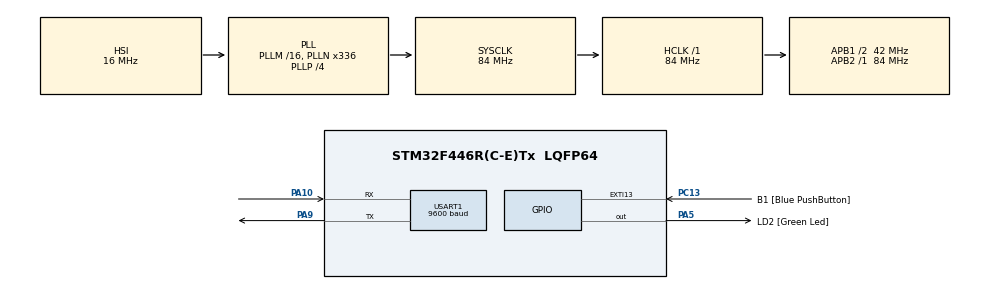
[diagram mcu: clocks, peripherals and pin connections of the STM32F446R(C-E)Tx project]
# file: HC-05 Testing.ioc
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Mcu.Family=STM32F4
Mcu.Name=STM32F446R(C-E)Tx
Mcu.Package=LQFP64
NVIC.PriorityGroup=NVIC_PRIORITYGROUP_0
NVIC.USART1_IRQn=true\:0\:0\:false\:false\:true\:true\:true\:true
PA10.Mode=Asynchronous
PA10.Signal=USART1_RX
PA13.GPIO_Label=TMS
PA13.Mode=Serial_Wire
PA13.Signal=SYS_JTMS-SWDIO
PA14.GPIO_Label=TCK
PA14.Mode=Serial_Wire
PA14.Signal=SYS_JTCK-SWCLK
PA2.GPIO_Label=USART_TX
PA2.Signal=USART2_TX
PA3.GPIO_Label=USART_RX
PA3.Signal=USART2_RX
PA5.GPIO_Label=LD2 [Green Led]
PA5.Signal=GPIO_Output
PA9.Mode=Asynchronous
PA9.Signal=USART1_TX
PB3.GPIO_Label=SWO
PB3.Signal=SYS_JTDO-SWO
PC13.GPIO_Label=B1 [Blue PushButton]
PC13.GPIO_ModeDefaultEXTI=GPIO_MODE_IT_FALLING
PC13.Signal=GPXTI13
PC14-OSC32_IN.Mode=LSE-External-Oscillator
PC14-OSC32_IN.Signal=RCC_OSC32_IN
PC15-OSC32_OUT.Mode=LSE-External-Oscillator
PC15-OSC32_OUT.Signal=RCC_OSC32_OUT
PH0-OSC_IN.Mode=HSE-External-Oscillator
PH0-OSC_IN.Signal=RCC_OSC_IN
PH1-OSC_OUT.Mode=HSE-External-Oscillator
PH1-OSC_OUT.Signal=RCC_OSC_OUT
ProjectManager.HeapSize=0x200
ProjectManager.StackSize=0x400
ProjectManager.TargetToolchain=STM32CubeIDE
RCC.48MHZClocksFreq_Value=84000000
RCC.AHBFreq_Value=84000000
RCC.APB1CLKDivider=RCC_HCLK_DIV2
RCC.APB1Freq_Value=42000000
RCC.APB1TimFreq_Value=84000000
RCC.APB2Freq_Value=84000000
RCC.APB2TimFreq_Value=84000000
RCC.CortexFreq_Value=84000000
RCC.FLatency-AdvancedSettings=FLASH_LATENCY_2
RCC.HCLKFreq_Value=84000000
RCC.HSE_VALUE=8000000
RCC.HSI_VALUE=16000000
RCC.PLLN=336
RCC.PLLP=RCC_PLLP_DIV4
RCC.SYSCLKFreq_VALUE=84000000
RCC.SYSCLKSource=RCC_SYSCLKSOURCE_PLLCLK
RCC.USBFreq_Value=168000000
RCC.VCOOutputFreq_Value=336000000
USART1.BaudRate=9600
USART1.VirtualMode=VM_ASYNC
board=NUCLEO-F446RE

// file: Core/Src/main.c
/* USER CODE BEGIN Header */
/**
  ******************************************************************************
  * @file           : main.c
  * @brief          : Main program body
  ******************************************************************************
  * @attention
  *
  * Copyright (c) 2025 STMicroelectronics.
  * All rights reserved.
  *
  * This software is licensed under terms that can be found in the LICENSE file
  * in the root directory of this software component.
  * If no LICENSE file comes with this software, it is provided AS-IS.
  *
  ******************************************************************************
  */
/* USER CODE END Header */
#include "main.h"

/* USER CODE BEGIN Includes */

#include <string.h>

/* USER CODE END Includes */

UART_HandleTypeDef huart1;

/* USER CODE BEGIN PV */

uint8_t buffer_q[8][21];
int index_buffer;
uint8_t buffer[21];

uint8_t base;
uint8_t shoulder;
uint8_t elbow;
uint8_t wrist_pitch;
uint8_t wrist_roll;
uint8_t detected_class;

/* USER CODE END PV */

void SystemClock_Config(void);
static void MX_GPIO_Init(void);
static void MX_USART1_UART_Init(void);

int main(void)
{

  /* MCU Configuration--------------------------------------------------------*/

  /* Reset of all peripherals, Initializes the Flash interface and the Systick. */
  HAL_Init();

  /* Configure the system clock */
  SystemClock_Config();

  /* Initialize all configured peripherals */
  MX_GPIO_Init();
  MX_USART1_UART_Init();
  /* USER CODE BEGIN 2 */

  char temp_msg[32];
  strcpy(temp_msg, "HC-05 Initialised!\n");
  HAL_UART_Transmit(&huart1, (uint8_t*) temp_msg, strlen(temp_msg), HAL_MAX_DELAY);
  HAL_UART_Receive_IT(&huart1, buffer, 21);

  /* USER CODE END 2 */

  /* Infinite loop */
  while (1)
  {

  }
}

void SystemClock_Config(void)
{
  RCC_OscInitTypeDef RCC_OscInitStruct = {0};
  RCC_ClkInitTypeDef RCC_ClkInitStruct = {0};

  /** Configure the main internal regulator output voltage
  */
  __HAL_RCC_PWR_CLK_ENABLE();
  __HAL_PWR_VOLTAGESCALING_CONFIG(PWR_REGULATOR_VOLTAGE_SCALE3);

  /** Initializes the RCC Oscillators according to the specified parameters
  * in the RCC_OscInitTypeDef structure.
  */
  RCC_OscInitStruct.OscillatorType = RCC_OSCILLATORTYPE_HSI;
  RCC_OscInitStruct.HSIState = RCC_HSI_ON;
  RCC_OscInitStruct.HSICalibrationValue = RCC_HSICALIBRATION_DEFAULT;
  RCC_OscInitStruct.PLL.PLLState = RCC_PLL_ON;
  RCC_OscInitStruct.PLL.PLLSource = RCC_PLLSOURCE_HSI;
  RCC_OscInitStruct.PLL.PLLM = 16;
  RCC_OscInitStruct.PLL.PLLN = 336;
  RCC_OscInitStruct.PLL.PLLP = RCC_PLLP_DIV4;
  RCC_OscInitStruct.PLL.PLLQ = 2;
  RCC_OscInitStruct.PLL.PLLR = 2;
  if (HAL_RCC_OscConfig(&RCC_OscInitStruct) != HAL_OK)
  {
    Error_Handler();
  }

  /** Initializes the CPU, AHB and APB buses clocks
  */
  RCC_ClkInitStruct.ClockType = RCC_CLOCKTYPE_HCLK|RCC_CLOCKTYPE_SYSCLK
                              |RCC_CLOCKTYPE_PCLK1|RCC_CLOCKTYPE_PCLK2;
  RCC_ClkInitStruct.SYSCLKSource = RCC_SYSCLKSOURCE_PLLCLK;
  RCC_ClkInitStruct.AHBCLKDivider = RCC_SYSCLK_DIV1;
  RCC_ClkInitStruct.APB1CLKDivider = RCC_HCLK_DIV2;
  RCC_ClkInitStruct.APB2CLKDivider = RCC_HCLK_DIV1;

  if (HAL_RCC_ClockConfig(&RCC_ClkInitStruct, FLASH_LATENCY_2) != HAL_OK)
  {
    Error_Handler();
  }
}

static void MX_USART1_UART_Init(void)
{

  huart1.Instance = USART1;
  huart1.Init.BaudRate = 9600;
  huart1.Init.WordLength = UART_WORDLENGTH_8B;
  huart1.Init.StopBits = UART_STOPBITS_1;
  huart1.Init.Parity = UART_PARITY_NONE;
  huart1.Init.Mode = UART_MODE_TX_RX;
  huart1.Init.HwFlowCtl = UART_HWCONTROL_NONE;
  huart1.Init.OverSampling = UART_OVERSAMPLING_16;
  if (HAL_UART_Init(&huart1) != HAL_OK)
  {
    Error_Handler();
  }

}

static void MX_GPIO_Init(void)
{
  GPIO_InitTypeDef GPIO_InitStruct = {0};

  /* GPIO Ports Clock Enable */
  __HAL_RCC_GPIOC_CLK_ENABLE();
  __HAL_RCC_GPIOH_CLK_ENABLE();
  __HAL_RCC_GPIOA_CLK_ENABLE();
  __HAL_RCC_GPIOB_CLK_ENABLE();

  /*Configure GPIO pin Output Level */
  HAL_GPIO_WritePin(LD2_GPIO_Port, LD2_Pin, GPIO_PIN_RESET);

  /*Configure GPIO pin : B1_Pin */
  GPIO_InitStruct.Pin = B1_Pin;
  GPIO_InitStruct.Mode = GPIO_MODE_IT_FALLING;
  GPIO_InitStruct.Pull = GPIO_NOPULL;
  HAL_GPIO_Init(B1_GPIO_Port, &GPIO_InitStruct);

  /*Configure GPIO pins : USART_TX_Pin USART_RX_Pin */
  GPIO_InitStruct.Pin = USART_TX_Pin|USART_RX_Pin;
  GPIO_InitStruct.Mode = GPIO_MODE_AF_PP;
  GPIO_InitStruct.Pull = GPIO_NOPULL;
  GPIO_InitStruct.Speed = GPIO_SPEED_FREQ_VERY_HIGH;
  GPIO_InitStruct.Alternate = GPIO_AF7_USART2;
  HAL_GPIO_Init(GPIOA, &GPIO_InitStruct);

  /*Configure GPIO pin : LD2_Pin */
  GPIO_InitStruct.Pin = LD2_Pin;
  GPIO_InitStruct.Mode = GPIO_MODE_OUTPUT_PP;
  GPIO_InitStruct.Pull = GPIO_NOPULL;
  GPIO_InitStruct.Speed = GPIO_SPEED_FREQ_LOW;
  HAL_GPIO_Init(LD2_GPIO_Port, &GPIO_InitStruct);

}

/* USER CODE BEGIN 4 */

void HAL_UART_RxCpltCallback(UART_HandleTypeDef *huart){
	if (huart->Instance == USART1) {
	        char response_msg[100];
	        char temp_buffer[21]; // Create a copy if you need to preserve the original
	        strcpy(temp_buffer, buffer); // Copy the original string

	        for(int i = 0; i < 21; i++)
	        	buffer_q[index_buffer][i] = buffer[i];

	        if(++index_buffer == 8)
	        	index_buffer = 0;

	        char *token;

	            token = strtok(temp_buffer, ",");
	            if (token != NULL) {
	                base = atoi(token);
	            }

	            token = strtok(NULL, ",");
	            if (token != NULL) {
	                shoulder = atoi(token);
	            }

	            token = strtok(NULL, ",");
	            if (token != NULL) {
	                elbow = atoi(token);
	            }

	            token = strtok(NULL, ",");
	            if (token != NULL) {
	                wrist_pitch = atoi(token);
	            }

	            token = strtok(NULL, ",");
	            if (token != NULL) {
	            	wrist_roll = atoi(token);
	            }

	            token = strtok(NULL, ",");
	            if (token != NULL) {
	                detected_class = atoi(token);
	            }
	        // Construct the response message
	        strcpy(response_msg, "Received: ");
	        strcat(response_msg, (char*)buffer); // Cast to char* is fine here as it's null-terminated

	        // Transmit the response
	        HAL_UART_Transmit(&huart1, (uint8_t*) response_msg, strlen(response_msg), HAL_MAX_DELAY);

	        // Re-enable the receive interrupt *after* processing the current data
	        HAL_UART_Receive_IT(&huart1, buffer, 21);
	}
}

/* USER CODE END 4 */

void Error_Handler(void)
{
  __disable_irq();
  while (1)
  {
  }
}
